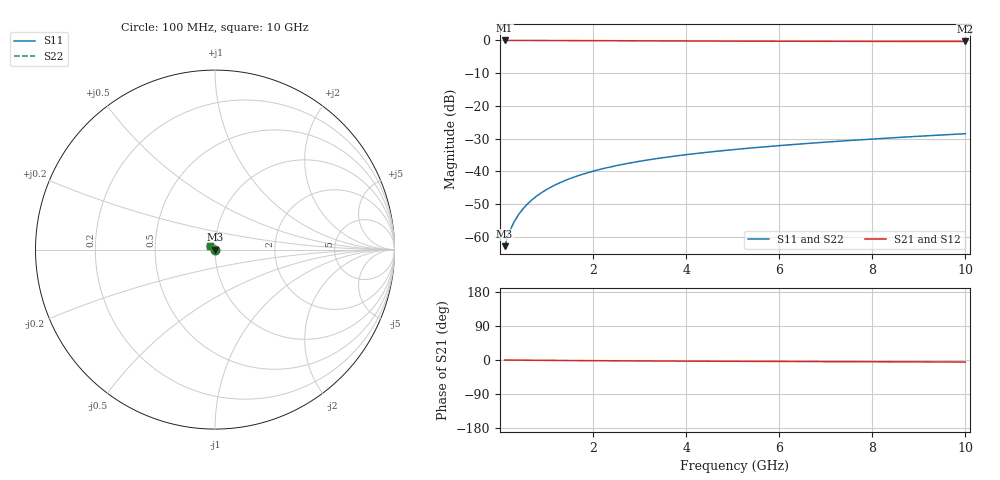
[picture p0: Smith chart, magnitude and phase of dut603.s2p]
! Touchstone file exported from HFSS 2024.1.0
!  File:  C:/UserFiles/LocalFiles/RDL_TSV_Batchsim/temp_TSV1_603_1779787501.aedt
!  Generated:  05:31:36 PM May 26, 2026
!  Design:  TSV1
!  Project:  temp_TSV1_603_1779787501
!  Setup:  Setup1
!  Solution:  Sweep
! Variables:
!  dtsv = 5.31um
!  hbump = 3um
!  htsv = 79.15um
!  lrdl = 252.1521522um
!  p = 40
!  p1 = 47.19um
!  t = 500um
!  trdl = 3um
!  wrdl = 24.89489489um
# GHz S MA R 50.000000
! Terminal data exported
! Port[1] = TSV22_T1
! Port[2] = TSV22_T2
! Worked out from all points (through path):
!   100 points, 100 MHz to 10 GHz, reference 50 ohm
!   highest |S21| = 0.00 dB at 100 MHz (marker M1); lowest = -0.3 dB at 10 GHz (marker M2)
!   lowest |S11| = -62.9 dB at 100 MHz (marker M3), VSWR 1.00, Z = 50 - j0.0537 ohm
!   |S11| at or under -10 dB: start of sweep to end of sweep
!   |S22| runs from -62.9 to -28.5 dB; largest |S21 - S12| = 5.4e-15
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0.1  0.0007133 -48.8  0.9995 -0.1  0.9995 -0.1  0.0007133 -48.8
! Gamma 0 0 0 0
! Port Impedance 50 0 50 0
0.2  0.001162 -69.1  0.9994 -0.2  0.9994 -0.2  0.001162 -69.1
0.3  0.001659 -79.2  0.9993 -0.3  0.9993 -0.3  0.001659 -79.2
0.4  0.002169 -85.7  0.9991 -0.4  0.9991 -0.4  0.002169 -85.7
0.5  0.002683 -90.5  0.9989 -0.5  0.9989 -0.5  0.002683 -90.5
0.6  0.003199 -94.5  0.9987 -0.6  0.9987 -0.6  0.003199 -94.5
0.7  0.003713 -98.0  0.9984 -0.7  0.9984 -0.7  0.003713 -98.0
0.8  0.004224 -101.1  0.9981 -0.8  0.9981 -0.8  0.004224 -101.1
0.9  0.004732 -104.1  0.9978 -0.9  0.9978 -0.9  0.004732 -104.1
1.1  0.005737 -109.5  0.997 -1.0  0.997 -1.0  0.005737 -109.5
1.4  0.007207 -116.9  0.9957 -1.3  0.9957 -1.3  0.007207 -116.9
1.6  0.008159 -121.5  0.9947 -1.5  0.9947 -1.5  0.008159 -121.5
1.8  0.009088 -125.9  0.9936 -1.6  0.9936 -1.6  0.009088 -125.9
2.1  0.01044 -132.1  0.9919 -1.8  0.9919 -1.8  0.01044 -132.1
2.5  0.01215 -139.9  0.9895 -2.1  0.9895 -2.1  0.01215 -139.9
2.9  0.01378 -147.1  0.9871 -2.4  0.9871 -2.4  0.01378 -147.1
3.4  0.0157 -155.3  0.9843 -2.7  0.9843 -2.7  0.0157 -155.3
4.2  0.01859 -167.0  0.9801 -3.1  0.9801 -3.1  0.01859 -167.0
5.1  0.02166 -178.2  0.9762 -3.5  0.9762 -3.5  0.02166 -178.2
6.7  0.02686 166.0  0.9709 -4.1  0.9709 -4.1  0.02686 166.0
8.4  0.0323 153.2  0.967 -4.7  0.967 -4.7  0.0323 153.2
10  0.03743 143.9  0.9643 -5.4  0.9643 -5.4  0.03743 143.9
